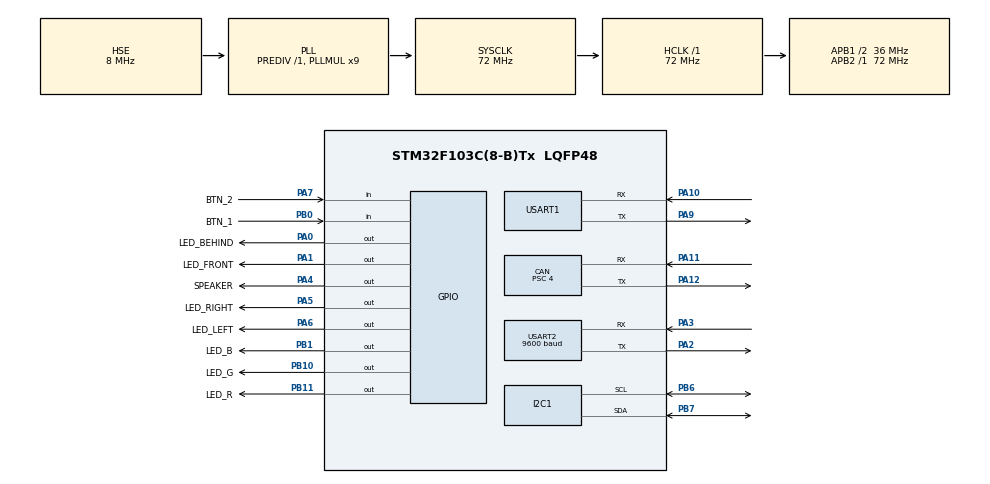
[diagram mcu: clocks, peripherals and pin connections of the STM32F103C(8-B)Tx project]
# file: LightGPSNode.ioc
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CAN.BS1=CAN_BS1_15TQ
CAN.BS2=CAN_BS2_2TQ
CAN.CalculateBaudRate=500000
CAN.CalculateTimeBit=2000
CAN.CalculateTimeQuantum=111.11111111111111
CAN.Prescaler=4
CAN.TXFP=ENABLE
Dma.Request0=USART2_RX
Dma.Request1=USART1_RX
Dma.Request2=USART1_TX
Dma.USART1_RX.1.Direction=DMA_PERIPH_TO_MEMORY
Dma.USART1_RX.1.Instance=DMA1_Channel5
Dma.USART1_RX.1.MemDataAlignment=DMA_MDATAALIGN_BYTE
Dma.USART1_RX.1.MemInc=DMA_MINC_ENABLE
Dma.USART1_RX.1.Mode=DMA_NORMAL
Dma.USART1_RX.1.PeriphDataAlignment=DMA_PDATAALIGN_BYTE
Dma.USART1_RX.1.PeriphInc=DMA_PINC_DISABLE
Dma.USART1_RX.1.Priority=DMA_PRIORITY_LOW
Dma.USART1_TX.2.Direction=DMA_MEMORY_TO_PERIPH
Dma.USART1_TX.2.Instance=DMA1_Channel4
Dma.USART1_TX.2.MemDataAlignment=DMA_MDATAALIGN_BYTE
Dma.USART1_TX.2.MemInc=DMA_MINC_ENABLE
Dma.USART1_TX.2.Mode=DMA_NORMAL
Dma.USART1_TX.2.PeriphDataAlignment=DMA_PDATAALIGN_BYTE
Dma.USART1_TX.2.PeriphInc=DMA_PINC_DISABLE
Dma.USART1_TX.2.Priority=DMA_PRIORITY_LOW
Dma.USART2_RX.0.Direction=DMA_PERIPH_TO_MEMORY
Dma.USART2_RX.0.Instance=DMA1_Channel6
Dma.USART2_RX.0.MemDataAlignment=DMA_MDATAALIGN_BYTE
Dma.USART2_RX.0.MemInc=DMA_MINC_ENABLE
Dma.USART2_RX.0.Mode=DMA_NORMAL
Dma.USART2_RX.0.PeriphDataAlignment=DMA_PDATAALIGN_BYTE
Dma.USART2_RX.0.PeriphInc=DMA_PINC_DISABLE
Dma.USART2_RX.0.Priority=DMA_PRIORITY_MEDIUM
FREERTOS.INCLUDE_xEventGroupSetBitFromISR=1
FREERTOS.Tasks01=tDefault,24,200,StartDefaultTask,Default,NULL,Dynamic,NULL,NULL
FREERTOS.configMINIMAL_STACK_SIZE=64
FREERTOS.configTIMER_TASK_STACK_DEPTH=64
FREERTOS.configTOTAL_HEAP_SIZE=9216
FREERTOS.configUSE_NEWLIB_REENTRANT=1
Mcu.Family=STM32F1
Mcu.Name=STM32F103C(8-B)Tx
Mcu.Package=LQFP48
NVIC.CAN1_RX1_IRQn=true\:5\:0\:false\:false\:true\:true\:true\:true\:true
NVIC.CAN1_SCE_IRQn=true\:5\:0\:false\:false\:true\:true\:true\:true\:true
NVIC.DMA1_Channel4_IRQn=true\:5\:0\:false\:false\:true\:true\:false\:true\:true
NVIC.DMA1_Channel5_IRQn=true\:5\:0\:false\:false\:true\:true\:false\:true\:true
NVIC.DMA1_Channel6_IRQn=true\:5\:0\:false\:false\:true\:true\:false\:true\:true
NVIC.I2C1_EV_IRQn=true\:5\:0\:false\:false\:true\:true\:true\:true\:true
NVIC.PriorityGroup=NVIC_PRIORITYGROUP_4
NVIC.USART1_IRQn=true\:5\:0\:false\:false\:true\:true\:true\:true\:true
NVIC.USART2_IRQn=true\:5\:0\:false\:false\:true\:true\:true\:true\:true
NVIC.USB_HP_CAN1_TX_IRQn=true\:5\:0\:false\:false\:true\:true\:true\:true\:true
NVIC.USB_LP_CAN1_RX0_IRQn=true\:5\:0\:false\:false\:true\:true\:true\:true\:true
PA0-WKUP.GPIO_Label=LED_BEHIND
PA0-WKUP.Signal=GPIO_Output
PA1.GPIO_Label=LED_FRONT
PA1.Signal=GPIO_Output
PA10.Mode=Asynchronous
PA10.Signal=USART1_RX
PA11.Mode=CAN_Activate
PA11.Signal=CAN_RX
PA12.Mode=CAN_Activate
PA12.Signal=CAN_TX
PA13.Mode=Serial_Wire
PA13.Signal=SYS_JTMS-SWDIO
PA14.Mode=Serial_Wire
PA14.Signal=SYS_JTCK-SWCLK
PA2.Mode=Asynchronous
PA2.Signal=USART2_TX
PA3.Mode=Asynchronous
PA3.Signal=USART2_RX
PA4.GPIO_Label=SPEAKER
PA4.Signal=GPIO_Output
PA5.GPIO_Label=LED_RIGHT
PA5.Signal=GPIO_Output
PA6.GPIO_Label=LED_LEFT
PA6.Signal=GPIO_Output
PA7.GPIO_Label=BTN_2
PA7.Signal=GPIO_Input
PA9.Mode=Asynchronous
PA9.Signal=USART1_TX
PB0.GPIO_Label=BTN_1
PB0.Signal=GPIO_Input
PB1.GPIO_Label=LED_B
PB1.PinState=GPIO_PIN_SET
PB1.Signal=GPIO_Output
PB10.GPIO_Label=LED_G
PB10.PinState=GPIO_PIN_SET
PB10.Signal=GPIO_Output
PB11.GPIO_Label=LED_R
PB11.PinState=GPIO_PIN_SET
PB11.Signal=GPIO_Output
PB6.Mode=I2C
PB6.Signal=I2C1_SCL
PB7.Mode=I2C
PB7.Signal=I2C1_SDA
PD0-OSC_IN.Mode=HSE-External-Oscillator
PD0-OSC_IN.Signal=RCC_OSC_IN
PD1-OSC_OUT.Mode=HSE-External-Oscillator
PD1-OSC_OUT.Signal=RCC_OSC_OUT
ProjectManager.HeapSize=0x200
ProjectManager.StackSize=0x400
ProjectManager.TargetToolchain=STM32CubeIDE
RCC.AHBFreq_Value=72000000
RCC.APB1CLKDivider=RCC_HCLK_DIV2
RCC.APB1Freq_Value=36000000
RCC.APB1TimFreq_Value=72000000
RCC.APB2Freq_Value=72000000
RCC.APB2TimFreq_Value=72000000
RCC.HCLKFreq_Value=72000000
RCC.PLLMUL=RCC_PLL_MUL9
RCC.PLLSourceVirtual=RCC_PLLSOURCE_HSE
RCC.SYSCLKFreq_VALUE=72000000
RCC.SYSCLKSource=RCC_SYSCLKSOURCE_PLLCLK
RCC.USBFreq_Value=72000000
USART1.VirtualMode=VM_ASYNC
USART2.BaudRate=9600
USART2.VirtualMode=VM_ASYNC
VP_FREERTOS_VS_CMSIS_V2.Mode=CMSIS_V2
board=custom

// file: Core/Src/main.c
/* USER CODE BEGIN Header */
/**
 ******************************************************************************
 * @file           : main.c
 * @brief          : Main program body
 ******************************************************************************
 * @attention
 *
 * Copyright (c) 2023 STMicroelectronics.
 * All rights reserved.
 *
 * This software is licensed under terms that can be found in the LICENSE file
 * in the root directory of this software component.
 * If no LICENSE file comes with this software, it is provided AS-IS.
 *
 ******************************************************************************
 */
/* USER CODE END Header */
#include "main.h"
#include "cmsis_os.h"

/* USER CODE BEGIN Includes */
#include "SyncPrintf/SyncPrintf.h"
#include "GPIO/GPIOHandler.h"
#include "UARTHandler/UART_Handler.h"
#include "I2CHandler/I2C_Handler.h"
#include "CANHandler/CANHandler.h"
#include "INA219/INA219.h"
#include "GPSHandler/GPSHandler.h"
#include "stdio.h"
#include "CANFrame/CANFrame.h"
#include "Utility/Utility.h"
#include "PowerPublisher/PowerPublisher.h"
#include "GPSPublisher/GPSPublisher.h"
#include "LEDSpeakerControl/LEDSpeakerControl.h"
#include "DataProcess/DataProcess.h"
#include "isotp-c/isotp.h"
/* USER CODE END Includes */

/* USER CODE BEGIN PD */
#define ISOTP_BUFSIZE		100
/* USER CODE END PD */

CAN_HandleTypeDef hcan;

I2C_HandleTypeDef hi2c1;

UART_HandleTypeDef huart1;
UART_HandleTypeDef huart2;
DMA_HandleTypeDef hdma_usart1_rx;
DMA_HandleTypeDef hdma_usart1_tx;
DMA_HandleTypeDef hdma_usart2_rx;

/* Definitions for tDefault */
osThreadId_t tDefaultHandle;
const osThreadAttr_t tDefault_attributes = { .name = "tDefault", .stack_size =
		200 * 4, .priority = (osPriority_t) osPriorityNormal, };
/* USER CODE BEGIN PV */
osThreadId_t TestTaskHandle;
const osThreadAttr_t TestTask_attributes = { .name = "TestTask", .stack_size =
		200 * 4, .priority = (osPriority_t) osPriorityNormal2, };

GPIO_HandlerStruct Blinker = { .Port = GPIOC, .Pin = GPIO_PIN_13 };

GPIO_HandlerStruct LeftPin = { .Port = LED_LEFT_GPIO_Port, .Pin = LED_LEFT_Pin };
GPIO_HandlerStruct RightPin = { .Port = LED_RIGHT_GPIO_Port, .Pin =
LED_RIGHT_Pin };
GPIO_HandlerStruct FrontPin = { .Port = LED_FRONT_GPIO_Port, .Pin =
LED_FRONT_Pin };
GPIO_HandlerStruct StopPin = { .Port = LED_BEHIND_GPIO_Port, .Pin =
LED_BEHIND_Pin };
GPIO_HandlerStruct SpeakerPin =
		{ .Port = SPEAKER_GPIO_Port, .Pin = SPEAKER_Pin };

LEDSpeaker_HandleStruct LEDSpeaker = { .FrontPin = &FrontPin, .LeftPin =
		&LeftPin, .RightPin = &RightPin, .StopPin = &StopPin, .SpeakerPin =
		&SpeakerPin };

UART_OS_HandlerStruct gpsUART;
I2C_OS_HandlerStruct mainI2C;
INA219_t INA219_main;

CAN_OS_HandlerStruct CANmain;
CANFrame_HandlerStruct CANFrame_Handler;

GPS_HandlerStruct GPS;
PowerPublisher_HandlerStruct PowerPub;
GPSPublisher_HandlerStruct GPSPub;

IsoTpLink g_link;

uint8_t g_isotpRecvBuf[ISOTP_BUFSIZE];
uint8_t g_isotpSendBuf[ISOTP_BUFSIZE];

/* USER CODE END PV */

void SystemClock_Config(void);
static void MX_GPIO_Init(void);
static void MX_DMA_Init(void);
static void MX_CAN_Init(void);
static void MX_I2C1_Init(void);
static void MX_USART1_UART_Init(void);
static void MX_USART2_UART_Init(void);
void StartDefaultTask(void *argument);

/* USER CODE BEGIN PFP */
void TestTask(void *argument);

void CAN_TxCallback(CAN_HandleTypeDef *hcan);
void CAN_RxFifo0Callback(CAN_HandleTypeDef *hcan);

void CANFrame_RcvDoneHandler(CANFrame_RxHeaderTypedef *CANFrame_RxHeader,
		uint8_t *str);
/* USER CODE END PFP */

int main(void) {

	/* MCU Configuration--------------------------------------------------------*/

	/* Reset of all peripherals, Initializes the Flash interface and the Systick. */
	HAL_Init();

	/* Configure the system clock */
	SystemClock_Config();

	/* Initialize all configured peripherals */
	MX_GPIO_Init();
	MX_DMA_Init();
	MX_CAN_Init();
	MX_I2C1_Init();
	MX_USART1_UART_Init();
	MX_USART2_UART_Init();

	/* Init scheduler */
	osKernelInitialize();

	/* Create the thread(s) */
	/* creation of tDefault */
	tDefaultHandle = osThreadNew(StartDefaultTask, NULL, &tDefault_attributes);

	/* USER CODE BEGIN RTOS_THREADS */
	/* add threads, ... */

	SyncPrintf_Init();
	I2C_OS_Init(&mainI2C, &hi2c1);
	CAN_OS_Init(&CANmain, &hcan);

	CAN_OS_RegisterCB(&CANmain, CAN_OS_ActivateTxCB_ID, CAN_TxCallback);
	CAN_OS_RegisterCB(&CANmain, CAN_OS_ActivateRxFifo0_ID, CAN_RxFifo0Callback);

	UART_OS_Init(&gpsUART, &huart2);
	GPS_Init(&GPS, &gpsUART, 100);

//	TestTaskHandle = osThreadNew(TestTask, NULL, &TestTask_attributes);

	SyncPrintf("####### LightGPS AWAKE ##### \r\n");
	/* USER CODE END RTOS_THREADS */

	/* Start scheduler */
	osKernelStart();
	/* We should never get here as control is now taken by the scheduler */
	/* Infinite loop */
	while (1) {

	}
}

void SystemClock_Config(void) {
	RCC_OscInitTypeDef RCC_OscInitStruct = { 0 };
	RCC_ClkInitTypeDef RCC_ClkInitStruct = { 0 };

	/** Initializes the RCC Oscillators according to the specified parameters
	 * in the RCC_OscInitTypeDef structure.
	 */
	RCC_OscInitStruct.OscillatorType = RCC_OSCILLATORTYPE_HSE;
	RCC_OscInitStruct.HSEState = RCC_HSE_ON;
	RCC_OscInitStruct.HSEPredivValue = RCC_HSE_PREDIV_DIV1;
	RCC_OscInitStruct.HSIState = RCC_HSI_ON;
	RCC_OscInitStruct.PLL.PLLState = RCC_PLL_ON;
	RCC_OscInitStruct.PLL.PLLSource = RCC_PLLSOURCE_HSE;
	RCC_OscInitStruct.PLL.PLLMUL = RCC_PLL_MUL9;
	if (HAL_RCC_OscConfig(&RCC_OscInitStruct) != HAL_OK) {
		Error_Handler();
	}

	/** Initializes the CPU, AHB and APB buses clocks
	 */
	RCC_ClkInitStruct.ClockType = RCC_CLOCKTYPE_HCLK | RCC_CLOCKTYPE_SYSCLK
			| RCC_CLOCKTYPE_PCLK1 | RCC_CLOCKTYPE_PCLK2;
	RCC_ClkInitStruct.SYSCLKSource = RCC_SYSCLKSOURCE_PLLCLK;
	RCC_ClkInitStruct.AHBCLKDivider = RCC_SYSCLK_DIV1;
	RCC_ClkInitStruct.APB1CLKDivider = RCC_HCLK_DIV2;
	RCC_ClkInitStruct.APB2CLKDivider = RCC_HCLK_DIV1;

	if (HAL_RCC_ClockConfig(&RCC_ClkInitStruct, FLASH_LATENCY_2) != HAL_OK) {
		Error_Handler();
	}
}

static void MX_CAN_Init(void) {

	hcan.Instance = CAN1;
	hcan.Init.Prescaler = 4;
	hcan.Init.Mode = CAN_MODE_NORMAL;
	hcan.Init.SyncJumpWidth = CAN_SJW_1TQ;
	hcan.Init.TimeSeg1 = CAN_BS1_15TQ;
	hcan.Init.TimeSeg2 = CAN_BS2_2TQ;
	hcan.Init.TimeTriggeredMode = DISABLE;
	hcan.Init.AutoBusOff = DISABLE;
	hcan.Init.AutoWakeUp = DISABLE;
	hcan.Init.AutoRetransmission = DISABLE;
	hcan.Init.ReceiveFifoLocked = DISABLE;
	hcan.Init.TransmitFifoPriority = ENABLE;
	if (HAL_CAN_Init(&hcan) != HAL_OK) {
		Error_Handler();
	}

}

static void MX_I2C1_Init(void) {

	hi2c1.Instance = I2C1;
	hi2c1.Init.ClockSpeed = 100000;
	hi2c1.Init.DutyCycle = I2C_DUTYCYCLE_2;
	hi2c1.Init.OwnAddress1 = 0;
	hi2c1.Init.AddressingMode = I2C_ADDRESSINGMODE_7BIT;
	hi2c1.Init.DualAddressMode = I2C_DUALADDRESS_DISABLE;
	hi2c1.Init.OwnAddress2 = 0;
	hi2c1.Init.GeneralCallMode = I2C_GENERALCALL_DISABLE;
	hi2c1.Init.NoStretchMode = I2C_NOSTRETCH_DISABLE;
	if (HAL_I2C_Init(&hi2c1) != HAL_OK) {
		Error_Handler();
	}

}

static void MX_USART1_UART_Init(void) {

	huart1.Instance = USART1;
	huart1.Init.BaudRate = 115200;
	huart1.Init.WordLength = UART_WORDLENGTH_8B;
	huart1.Init.StopBits = UART_STOPBITS_1;
	huart1.Init.Parity = UART_PARITY_NONE;
	huart1.Init.Mode = UART_MODE_TX_RX;
	huart1.Init.HwFlowCtl = UART_HWCONTROL_NONE;
	huart1.Init.OverSampling = UART_OVERSAMPLING_16;
	if (HAL_UART_Init(&huart1) != HAL_OK) {
		Error_Handler();
	}

}

static void MX_USART2_UART_Init(void) {

	huart2.Instance = USART2;
	huart2.Init.BaudRate = 9600;
	huart2.Init.WordLength = UART_WORDLENGTH_8B;
	huart2.Init.StopBits = UART_STOPBITS_1;
	huart2.Init.Parity = UART_PARITY_NONE;
	huart2.Init.Mode = UART_MODE_TX_RX;
	huart2.Init.HwFlowCtl = UART_HWCONTROL_NONE;
	huart2.Init.OverSampling = UART_OVERSAMPLING_16;
	if (HAL_UART_Init(&huart2) != HAL_OK) {
		Error_Handler();
	}

}

static void MX_DMA_Init(void) {

	/* DMA controller clock enable */
	__HAL_RCC_DMA1_CLK_ENABLE();

	/* DMA interrupt init */
	/* DMA1_Channel4_IRQn interrupt configuration */
	HAL_NVIC_SetPriority(DMA1_Channel4_IRQn, 5, 0);
	HAL_NVIC_EnableIRQ(DMA1_Channel4_IRQn);
	/* DMA1_Channel5_IRQn interrupt configuration */
	HAL_NVIC_SetPriority(DMA1_Channel5_IRQn, 5, 0);
	HAL_NVIC_EnableIRQ(DMA1_Channel5_IRQn);
	/* DMA1_Channel6_IRQn interrupt configuration */
	HAL_NVIC_SetPriority(DMA1_Channel6_IRQn, 5, 0);
	HAL_NVIC_EnableIRQ(DMA1_Channel6_IRQn);

}

static void MX_GPIO_Init(void) {
	GPIO_InitTypeDef GPIO_InitStruct = { 0 };

	/* GPIO Ports Clock Enable */
	__HAL_RCC_GPIOD_CLK_ENABLE();
	__HAL_RCC_GPIOA_CLK_ENABLE();
	__HAL_RCC_GPIOB_CLK_ENABLE();

	/*Configure GPIO pin Output Level */
	HAL_GPIO_WritePin(GPIOA,
	LED_BEHIND_Pin | LED_FRONT_Pin | SPEAKER_Pin | LED_RIGHT_Pin | LED_LEFT_Pin,
			GPIO_PIN_RESET);

	/*Configure GPIO pin Output Level */
	HAL_GPIO_WritePin(GPIOB, LED_B_Pin | LED_G_Pin | LED_R_Pin, GPIO_PIN_SET);

	/*Configure GPIO pins : LED_BEHIND_Pin LED_FRONT_Pin SPEAKER_Pin LED_RIGHT_Pin
	 LED_LEFT_Pin */
	GPIO_InitStruct.Pin = LED_BEHIND_Pin | LED_FRONT_Pin | SPEAKER_Pin
			| LED_RIGHT_Pin | LED_LEFT_Pin;
	GPIO_InitStruct.Mode = GPIO_MODE_OUTPUT_PP;
	GPIO_InitStruct.Pull = GPIO_NOPULL;
	GPIO_InitStruct.Speed = GPIO_SPEED_FREQ_LOW;
	HAL_GPIO_Init(GPIOA, &GPIO_InitStruct);

	/*Configure GPIO pin : BTN_2_Pin */
	GPIO_InitStruct.Pin = BTN_2_Pin;
	GPIO_InitStruct.Mode = GPIO_MODE_INPUT;
	GPIO_InitStruct.Pull = GPIO_NOPULL;
	HAL_GPIO_Init(BTN_2_GPIO_Port, &GPIO_InitStruct);

	/*Configure GPIO pin : BTN_1_Pin */
	GPIO_InitStruct.Pin = BTN_1_Pin;
	GPIO_InitStruct.Mode = GPIO_MODE_INPUT;
	GPIO_InitStruct.Pull = GPIO_NOPULL;
	HAL_GPIO_Init(BTN_1_GPIO_Port, &GPIO_InitStruct);

	/*Configure GPIO pins : LED_B_Pin LED_G_Pin LED_R_Pin */
	GPIO_InitStruct.Pin = LED_B_Pin | LED_G_Pin | LED_R_Pin;
	GPIO_InitStruct.Mode = GPIO_MODE_OUTPUT_PP;
	GPIO_InitStruct.Pull = GPIO_NOPULL;
	GPIO_InitStruct.Speed = GPIO_SPEED_FREQ_LOW;
	HAL_GPIO_Init(GPIOB, &GPIO_InitStruct);

}

/* USER CODE BEGIN 4 */
void HAL_I2C_MemRxCpltCallback(I2C_HandleTypeDef *hi2c) {
	if (mainI2C.hi2c == hi2c) {
		I2C_OS_MEM_RxCpltCB(&mainI2C);
	}
}
void HAL_I2C_MemTxCpltCallback(I2C_HandleTypeDef *hi2c) {
	if (mainI2C.hi2c == hi2c) {
		I2C_OS_MEM_TxCpltCB(&mainI2C);
	}
}
void CAN_TxCallback(CAN_HandleTypeDef *hcan) {
	if (CANmain.hcan == hcan) {
		CAN_OS_TxCplt_CB(&CANmain);
	}
}
void CAN_RxFifo0Callback(CAN_HandleTypeDef *hcan) {
	if (CANmain.hcan == hcan) {
		CAN_OS_RxFifo0Cplt_CB(&CANmain);
	}
}

void HAL_UART_RxCpltCallback(UART_HandleTypeDef *huart) {
	if (gpsUART.huart == huart) {
		UART_OS_RxCplt_CB(&gpsUART);
	}
}
void HAL_UART_TxCpltCallback(UART_HandleTypeDef *huart) {
	if (gpsUART.huart == huart) {
		UART_OS_TxCplt_CB(&gpsUART);
	}
}

void HAL_UARTEx_RxEventCallback(UART_HandleTypeDef *huart, uint16_t Size) {
	if (gpsUART.huart == huart) {
		UART_OS_RcvToIdle_CB(&gpsUART, Size);
	}

}

void CANFrame_RcvDoneHandler(CANFrame_RxHeaderTypedef *CANFrame_RxHeader,
		uint8_t *str) {
	uint8_t strLen = CANFrame_RxHeader->DataLen;
	uint8_t ID;
	char Data[50];
	int LeftState, RightState, FrontState, StopState;
	int SpeakerState;
	int res = 4;
	if (str[0] != '#' || str[strLen - 1] != '\n') {
		return;
	}

	if (DataPack_Split((char*) str, &ID, Data) != 0) {
		return;
	}

	switch (ID) {
	case 3:
		res = DataPack_GetLEDState(Data, &LeftState, &RightState, &FrontState,
				&StopState);
		if (res != 0)
			return;
		LEDSpeaker_SetLED(&LEDSpeaker, LeftState, RightState, FrontState,
				StopState);
		break;
	case 4:
		DataPack_GetSpeakerState(Data, &SpeakerState);
		if (res != 0)
			return;
		LEDSpeaker_setSpeaker(&LEDSpeaker, SpeakerState);
		break;
	default:
		break;
	}
}
void TestTask(void *argument) {
	while (1) {
		osDelay(500);
	}
}

/* USER CODE END 4 */

void StartDefaultTask(void *argument) {
	/* USER CODE BEGIN 5 */
	INA219_Init(&INA219_main, &mainI2C, INA219_ADDRESS_Default);
	INA219_setCalibration_32V_2A(&INA219_main);
	isotp_init_link(&g_link, CANFRAME_MASTER_ID, g_isotpSendBuf, ISOTP_BUFSIZE,
			g_isotpRecvBuf,
			ISOTP_BUFSIZE);
	g_link.receive_arbitration_id = CANFRAME_LIGHT_GPS_ID;

	CANFrame_Init(&CANFrame_Handler, &CANmain, CANFRAME_MASTER_ID,
	CAN_RX_FIFO0);
	PowerPublisher_Init(&PowerPub, &INA219_main, &CANFrame_Handler, 20);
	CANFrame_RegCB(&CANFrame_Handler, CANFRAME_RCVCPLT_CB_ID,
			CANFrame_RcvDoneHandler);
	CAN_OS_Start(&CANmain);

//	GPSPublisher_Init(&GPSPub, &GPS, &CANFrame_Handler, 10);
//	GPSPublisher_Start(&GPSPub, 1);
	PowerPublisher_Start(&PowerPub, 1);
	osThreadSetPriority(tDefaultHandle, osPriorityBelowNormal);
	/* Infinite loop */
	for (;;) {
		GPIO_TogglePin(Blinker);
		SyncPrintf(
				"Send Success %ld Send Fail %ld Rcv Success %ld Rcv Failed %ld\n",
				CANFrame_Handler.SendSuccessCounter,
				CANFrame_Handler.SendFailedCounter,
				CANFrame_Handler.RcvSucessCounter,
				CANFrame_Handler.RcvFailedCounter);
		osDelay(500);
	}
	/* USER CODE END 5 */
}

void Error_Handler(void) {
	__disable_irq();
	while (1) {
	}
}
